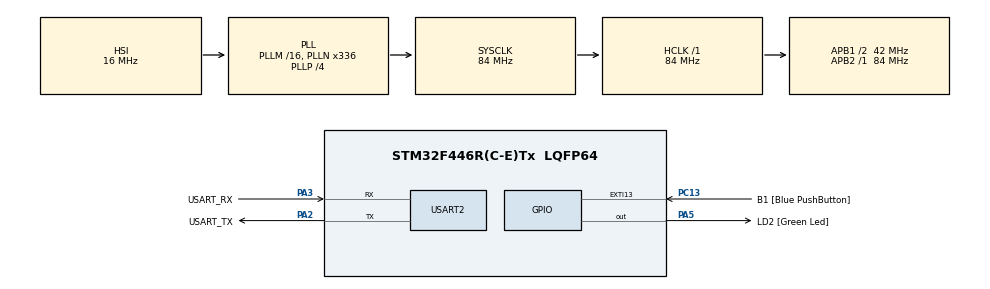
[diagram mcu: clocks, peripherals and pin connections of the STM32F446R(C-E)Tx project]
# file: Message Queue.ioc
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FREERTOS.BinarySemaphores01=binarySemaphore,Dynamic,NULL
FREERTOS.Queues01=myQueue,16,MessageStruct,0,Dynamic,NULL,NULL
FREERTOS.Tasks01=Sender1Task,0,128,Sender1TaskFunction,Default,NULL,Dynamic,NULL,NULL;ReceiverTask,1,128,ReceiverTaskFunction,Default,NULL,Dynamic,NULL,NULL;Sender2Task,0,128,Sender2TaskFunction,Default,NULL,Dynamic,NULL,NULL
Mcu.Family=STM32F4
Mcu.Name=STM32F446R(C-E)Tx
Mcu.Package=LQFP64
NVIC.PriorityGroup=NVIC_PRIORITYGROUP_4
NVIC.TIM6_DAC_IRQn=true\:15\:0\:false\:false\:true\:false\:false\:true\:true
NVIC.TimeBase=TIM6_DAC_IRQn
NVIC.TimeBaseIP=TIM6
PA13.GPIO_Label=TMS
PA13.Mode=Serial_Wire
PA13.Signal=SYS_JTMS-SWDIO
PA14.GPIO_Label=TCK
PA14.Mode=Serial_Wire
PA14.Signal=SYS_JTCK-SWCLK
PA2.GPIO_Label=USART_TX
PA2.Mode=Asynchronous
PA2.Signal=USART2_TX
PA3.GPIO_Label=USART_RX
PA3.Mode=Asynchronous
PA3.Signal=USART2_RX
PA5.GPIO_Label=LD2 [Green Led]
PA5.Signal=GPIO_Output
PB3.GPIO_Label=SWO
PB3.Signal=SYS_JTDO-SWO
PC13.GPIO_Label=B1 [Blue PushButton]
PC13.GPIO_ModeDefaultEXTI=GPIO_MODE_IT_FALLING
PC13.Signal=GPXTI13
PC14-OSC32_IN.Mode=LSE-External-Oscillator
PC14-OSC32_IN.Signal=RCC_OSC32_IN
PC15-OSC32_OUT.Mode=LSE-External-Oscillator
PC15-OSC32_OUT.Signal=RCC_OSC32_OUT
PH0-OSC_IN.Mode=HSE-External-Oscillator
PH0-OSC_IN.Signal=RCC_OSC_IN
PH1-OSC_OUT.Mode=HSE-External-Oscillator
PH1-OSC_OUT.Signal=RCC_OSC_OUT
ProjectManager.HeapSize=0x200
ProjectManager.StackSize=0x400
ProjectManager.TargetToolchain=STM32CubeIDE
RCC.48MHZClocksFreq_Value=84000000
RCC.AHBFreq_Value=84000000
RCC.APB1CLKDivider=RCC_HCLK_DIV2
RCC.APB1Freq_Value=42000000
RCC.APB1TimFreq_Value=84000000
RCC.APB2Freq_Value=84000000
RCC.APB2TimFreq_Value=84000000
RCC.CortexFreq_Value=84000000
RCC.FLatency-AdvancedSettings=FLASH_LATENCY_2
RCC.HCLKFreq_Value=84000000
RCC.HSE_VALUE=8000000
RCC.HSI_VALUE=16000000
RCC.PLLN=336
RCC.PLLP=RCC_PLLP_DIV4
RCC.SYSCLKFreq_VALUE=84000000
RCC.SYSCLKSource=RCC_SYSCLKSOURCE_PLLCLK
RCC.USBFreq_Value=168000000
RCC.VCOOutputFreq_Value=336000000
USART2.VirtualMode=VM_ASYNC
VP_FREERTOS_VS_CMSIS_V1.Mode=CMSIS_V1
VP_SYS_VS_tim6.Mode=TIM6
board=NUCLEO-F446RE

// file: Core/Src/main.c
/* USER CODE BEGIN Header */
/**
  ******************************************************************************
  * @file           : main.c
  * @brief          : Main program body
  ******************************************************************************
  * @attention
  *
  * Copyright (c) 2024 STMicroelectronics.
  * All rights reserved.
  *
  * This software is licensed under terms that can be found in the LICENSE file
  * in the root directory of this software component.
  * If no LICENSE file comes with this software, it is provided AS-IS.
  *
  ******************************************************************************
  */
/* USER CODE END Header */
#include "main.h"
#include "cmsis_os.h"

/* USER CODE BEGIN Includes */
#include "stdio.h"
/* USER CODE END Includes */

UART_HandleTypeDef huart2;

osThreadId Sender1TaskHandle;
osThreadId ReceiverTaskHandle;
osThreadId Sender2TaskHandle;
osMessageQId myQueueHandle;
osSemaphoreId binarySemaphoreHandle;

void SystemClock_Config(void);
static void MX_GPIO_Init(void);
static void MX_USART2_UART_Init(void);
void Sender1TaskFunction(void const * argument);
void ReceiverTaskFunction(void const * argument);
void Sender2TaskFunction(void const * argument);

/* USER CODE BEGIN PFP */
#ifdef __GNUC__
#define PUTCHAR_PROTOTYPE int __io_putchar(int ch)
#else
#define PUTCHAR_PROTOTYPE int fputc(int ch, FILE *f)
#endif
PUTCHAR_PROTOTYPE
{
HAL_UART_Transmit(&huart2, (uint8_t *)&ch, 1, HAL_MAX_DELAY);
return ch;
}
/* USER CODE END PFP */

/* USER CODE BEGIN 0 */
typedef struct{
	uint16_t Value;
	uint8_t Source;
} MessageStruct;
/* USER CODE END 0 */

int main(void)
{

  /* MCU Configuration--------------------------------------------------------*/

  /* Reset of all peripherals, Initializes the Flash interface and the Systick. */
  HAL_Init();

  /* Configure the system clock */
  SystemClock_Config();

  /* Initialize all configured peripherals */
  MX_GPIO_Init();
  MX_USART2_UART_Init();

  /* Create the semaphores(s) */
  /* definition and creation of binarySemaphore */
  osSemaphoreDef(binarySemaphore);
  binarySemaphoreHandle = osSemaphoreCreate(osSemaphore(binarySemaphore), 1);

  /* Create the queue(s) */
  /* definition and creation of myQueue */
  osMessageQDef(myQueue, 16, MessageStruct);
  myQueueHandle = osMessageCreate(osMessageQ(myQueue), NULL);

  /* Create the thread(s) */
  /* definition and creation of Sender1Task */
  osThreadDef(Sender1Task, Sender1TaskFunction, osPriorityNormal, 0, 128);
  Sender1TaskHandle = osThreadCreate(osThread(Sender1Task), NULL);

  /* definition and creation of ReceiverTask */
  osThreadDef(ReceiverTask, ReceiverTaskFunction, osPriorityAboveNormal, 0, 128);
  ReceiverTaskHandle = osThreadCreate(osThread(ReceiverTask), NULL);

  /* definition and creation of Sender2Task */
  osThreadDef(Sender2Task, Sender2TaskFunction, osPriorityNormal, 0, 128);
  Sender2TaskHandle = osThreadCreate(osThread(Sender2Task), NULL);

  /* USER CODE BEGIN RTOS_THREADS */
  /* add threads, ... */
  printf("\r\n\r\nSTART\r\n");
  osDelay(1000);
  /* USER CODE END RTOS_THREADS */

  /* Start scheduler */
  osKernelStart();

  /* We should never get here as control is now taken by the scheduler */
  /* Infinite loop */
  while (1)
  {

  }
}

void SystemClock_Config(void)
{
  RCC_OscInitTypeDef RCC_OscInitStruct = {0};
  RCC_ClkInitTypeDef RCC_ClkInitStruct = {0};

  /** Configure the main internal regulator output voltage
  */
  __HAL_RCC_PWR_CLK_ENABLE();
  __HAL_PWR_VOLTAGESCALING_CONFIG(PWR_REGULATOR_VOLTAGE_SCALE3);

  /** Initializes the RCC Oscillators according to the specified parameters
  * in the RCC_OscInitTypeDef structure.
  */
  RCC_OscInitStruct.OscillatorType = RCC_OSCILLATORTYPE_HSI;
  RCC_OscInitStruct.HSIState = RCC_HSI_ON;
  RCC_OscInitStruct.HSICalibrationValue = RCC_HSICALIBRATION_DEFAULT;
  RCC_OscInitStruct.PLL.PLLState = RCC_PLL_ON;
  RCC_OscInitStruct.PLL.PLLSource = RCC_PLLSOURCE_HSI;
  RCC_OscInitStruct.PLL.PLLM = 16;
  RCC_OscInitStruct.PLL.PLLN = 336;
  RCC_OscInitStruct.PLL.PLLP = RCC_PLLP_DIV4;
  RCC_OscInitStruct.PLL.PLLQ = 2;
  RCC_OscInitStruct.PLL.PLLR = 2;
  if (HAL_RCC_OscConfig(&RCC_OscInitStruct) != HAL_OK)
  {
    Error_Handler();
  }

  /** Initializes the CPU, AHB and APB buses clocks
  */
  RCC_ClkInitStruct.ClockType = RCC_CLOCKTYPE_HCLK|RCC_CLOCKTYPE_SYSCLK
                              |RCC_CLOCKTYPE_PCLK1|RCC_CLOCKTYPE_PCLK2;
  RCC_ClkInitStruct.SYSCLKSource = RCC_SYSCLKSOURCE_PLLCLK;
  RCC_ClkInitStruct.AHBCLKDivider = RCC_SYSCLK_DIV1;
  RCC_ClkInitStruct.APB1CLKDivider = RCC_HCLK_DIV2;
  RCC_ClkInitStruct.APB2CLKDivider = RCC_HCLK_DIV1;

  if (HAL_RCC_ClockConfig(&RCC_ClkInitStruct, FLASH_LATENCY_2) != HAL_OK)
  {
    Error_Handler();
  }
}

static void MX_USART2_UART_Init(void)
{

  huart2.Instance = USART2;
  huart2.Init.BaudRate = 115200;
  huart2.Init.WordLength = UART_WORDLENGTH_8B;
  huart2.Init.StopBits = UART_STOPBITS_1;
  huart2.Init.Parity = UART_PARITY_NONE;
  huart2.Init.Mode = UART_MODE_TX_RX;
  huart2.Init.HwFlowCtl = UART_HWCONTROL_NONE;
  huart2.Init.OverSampling = UART_OVERSAMPLING_16;
  if (HAL_UART_Init(&huart2) != HAL_OK)
  {
    Error_Handler();
  }

}

static void MX_GPIO_Init(void)
{
  GPIO_InitTypeDef GPIO_InitStruct = {0};

  /* GPIO Ports Clock Enable */
  __HAL_RCC_GPIOC_CLK_ENABLE();
  __HAL_RCC_GPIOH_CLK_ENABLE();
  __HAL_RCC_GPIOA_CLK_ENABLE();
  __HAL_RCC_GPIOB_CLK_ENABLE();

  /*Configure GPIO pin Output Level */
  HAL_GPIO_WritePin(LD2_GPIO_Port, LD2_Pin, GPIO_PIN_RESET);

  /*Configure GPIO pin : B1_Pin */
  GPIO_InitStruct.Pin = B1_Pin;
  GPIO_InitStruct.Mode = GPIO_MODE_IT_FALLING;
  GPIO_InitStruct.Pull = GPIO_NOPULL;
  HAL_GPIO_Init(B1_GPIO_Port, &GPIO_InitStruct);

  /*Configure GPIO pin : LD2_Pin */
  GPIO_InitStruct.Pin = LD2_Pin;
  GPIO_InitStruct.Mode = GPIO_MODE_OUTPUT_PP;
  GPIO_InitStruct.Pull = GPIO_NOPULL;
  GPIO_InitStruct.Speed = GPIO_SPEED_FREQ_LOW;
  HAL_GPIO_Init(LD2_GPIO_Port, &GPIO_InitStruct);

}

void Sender1TaskFunction(void const * argument)
{
  /* USER CODE BEGIN 5 */
  /* Infinite loop */
  for(;;)
  {
	  osSemaphoreWait(binarySemaphoreHandle, osWaitForever);
	  osDelay(1000);
	  printf("Sender1\r\n");
	  MessageStruct DataToSend1={1000,1};
	  osMessagePut(myQueueHandle,(uint32_t) &DataToSend1,200);
	  osSemaphoreRelease(binarySemaphoreHandle);
  }
  /* USER CODE END 5 */
}

void ReceiverTaskFunction(void const * argument)
{
  /* USER CODE BEGIN ReceiverTaskFunction */
	osEvent retvalue;
  /* Infinite loop */
  for(;;)
  {
	  osSemaphoreWait(binarySemaphoreHandle, osWaitForever);
	  retvalue=osMessageGet(myQueueHandle,4000);
	  if(((MessageStruct*)retvalue.value.p)->Source!=0 || ((MessageStruct*)retvalue.value.p)->Source!=1){
		  printf("Data from %d: %d \r\n", ((MessageStruct*)retvalue.value.p) -> Source, ((MessageStruct*)retvalue.value.p) -> Value);
	  }
	  osSemaphoreRelease(binarySemaphoreHandle);
	  osDelay(1);
  }
  /* USER CODE END ReceiverTaskFunction */
}

void Sender2TaskFunction(void const * argument)
{
  /* USER CODE BEGIN Sender2TaskFunction */
  /* Infinite loop */
  for(;;)
  {
	  osSemaphoreWait(binarySemaphoreHandle, osWaitForever);
	  osDelay(5000);
	  printf("Sender2\r\n");
	  MessageStruct DataToSend2={2000,2};
	  osMessagePut(myQueueHandle,(uint32_t) &DataToSend2,200);
	  osSemaphoreRelease(binarySemaphoreHandle);
  }
  /* USER CODE END Sender2TaskFunction */
}

void HAL_TIM_PeriodElapsedCallback(TIM_HandleTypeDef *htim)
{
  if (htim->Instance == TIM6) {
    HAL_IncTick();
  }
}

void Error_Handler(void)
{
  __disable_irq();
  while (1)
  {
  }
}
